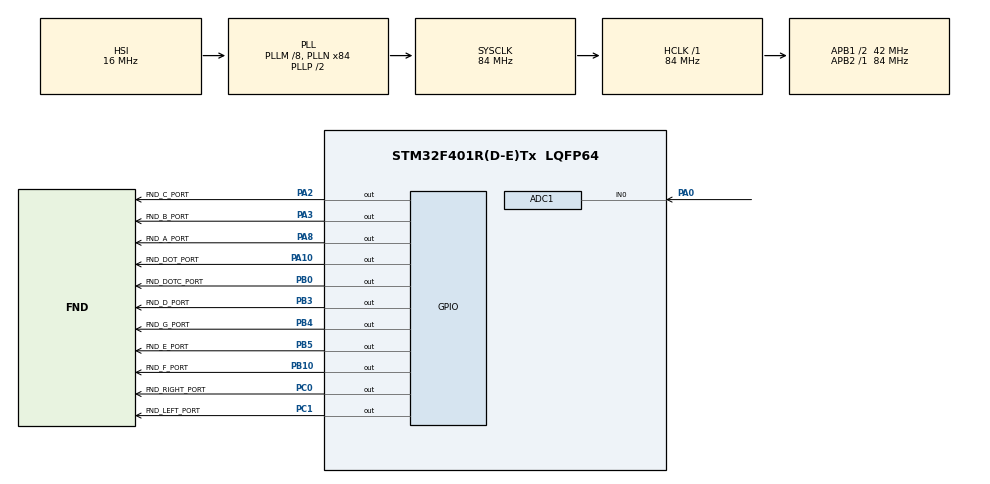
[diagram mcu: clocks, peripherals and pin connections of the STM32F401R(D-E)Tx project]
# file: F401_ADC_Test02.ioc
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ADC1.Channel-0\#ChannelRegularConversion=ADC_CHANNEL_0
ADC1.ContinuousConvMode=ENABLE
ADC1.NbrOfConversionFlag=1
ADC1.Rank-0\#ChannelRegularConversion=1
ADC1.SamplingTime-0\#ChannelRegularConversion=ADC_SAMPLETIME_3CYCLES
ADC1.master=1
Mcu.Family=STM32F4
Mcu.Name=STM32F401R(D-E)Tx
Mcu.Package=LQFP64
NVIC.ADC_IRQn=true\:0\:0\:false\:false\:true\:true\:true
NVIC.PriorityGroup=NVIC_PRIORITYGROUP_4
NVIC.TIM2_IRQn=true\:0\:0\:false\:false\:true\:true\:true
NVIC.TIM3_IRQn=true\:0\:0\:false\:false\:true\:true\:true
PA0-WKUP.Signal=ADCx_IN0
PA10.GPIO_Label=FND_DOT_PORT
PA10.PinState=GPIO_PIN_SET
PA10.Signal=GPIO_Output
PA13.Mode=Serial_Wire
PA13.Signal=SYS_JTMS-SWDIO
PA14.Mode=Serial_Wire
PA14.Signal=SYS_JTCK-SWCLK
PA2.GPIO_Label=FND_C_PORT
PA2.PinState=GPIO_PIN_SET
PA2.Signal=GPIO_Output
PA3.GPIO_Label=FND_B_PORT
PA3.PinState=GPIO_PIN_SET
PA3.Signal=GPIO_Output
PA8.GPIO_Label=FND_A_PORT
PA8.PinState=GPIO_PIN_SET
PA8.Signal=GPIO_Output
PB0.GPIO_Label=FND_DOTC_PORT
PB0.Signal=GPIO_Output
PB10.GPIO_Label=FND_F_PORT
PB10.PinState=GPIO_PIN_SET
PB10.Signal=GPIO_Output
PB3.GPIO_Label=FND_D_PORT
PB3.PinState=GPIO_PIN_SET
PB3.Signal=GPIO_Output
PB4.GPIO_Label=FND_G_PORT
PB4.PinState=GPIO_PIN_SET
PB4.Signal=GPIO_Output
PB5.GPIO_Label=FND_E_PORT
PB5.PinState=GPIO_PIN_SET
PB5.Signal=GPIO_Output
PC0.GPIO_Label=FND_RIGHT_PORT
PC0.Signal=GPIO_Output
PC1.GPIO_Label=FND_LEFT_PORT
PC1.Signal=GPIO_Output
ProjectManager.HeapSize=0x200
ProjectManager.StackSize=0x400
ProjectManager.TargetToolchain=STM32CubeIDE
RCC.48MHZClocksFreq_Value=42000000
RCC.AHBFreq_Value=84000000
RCC.APB1CLKDivider=RCC_HCLK_DIV2
RCC.APB1Freq_Value=42000000
RCC.APB1TimFreq_Value=84000000
RCC.APB2Freq_Value=84000000
RCC.APB2TimFreq_Value=84000000
RCC.CortexFreq_Value=84000000
RCC.HCLKFreq_Value=84000000
RCC.HSE_VALUE=25000000
RCC.HSI_VALUE=16000000
RCC.LSE_VALUE=32768
RCC.PLLM=8
RCC.PLLN=84
RCC.SYSCLKFreq_VALUE=84000000
RCC.SYSCLKSource=RCC_SYSCLKSOURCE_PLLCLK
RCC.VCOOutputFreq_Value=168000000
SH.ADCx_IN0.0=ADC1_IN0,IN0
TIM2.Period=100-1
TIM2.Prescaler=840-1
TIM3.Period=100-1
TIM3.Prescaler=8400-1
VP_TIM2_VS_ClockSourceINT.Mode=Internal
VP_TIM3_VS_ClockSourceINT.Mode=Internal
board=custom

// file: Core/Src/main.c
/* USER CODE BEGIN Header */
/**
  ******************************************************************************
  * @file           : main.c
  * @brief          : Main program body
  ******************************************************************************
  * @attention
  *
  * <h2><center>&copy; Copyright (c) 2021 STMicroelectronics.
  * All rights reserved.</center></h2>
  *
  * This software component is licensed by ST under BSD 3-Clause license,
  * the "License"; You may not use this file except in compliance with the
  * License. You may obtain a copy of the License at:
  *                        opensource.org/licenses/BSD-3-Clause
  *
  ******************************************************************************
  */
/* USER CODE END Header */
#include "main.h"

/* USER CODE BEGIN PTD */
#define FND_INITIALIZE 	0
#define FND_LEFT_ON		1
#define FND_RIGHT_ON	2
#define TIM3_IT_OCCURRED 	1
#define TIM3_IT_WAITING		0
#define ADC1_IT_OCCURRED 	1
#define ADC1_IT_WAITING		0
#define	FND_COM_LEFT_ON			HAL_GPIO_WritePin(GPIOC, FND_LEFT_PORT_Pin, GPIO_PIN_SET); \
								HAL_GPIO_WritePin(GPIOC, FND_RIGHT_PORT_Pin, GPIO_PIN_RESET); \
								HAL_GPIO_WritePin(FND_DOTC_PORT_GPIO_Port, FND_DOTC_PORT_Pin, GPIO_PIN_SET);\
								HAL_GPIO_WritePin(GPIOA, FND_DOT_PORT_Pin, GPIO_PIN_RESET);

#define	FND_COM_RIGHT_ON		HAL_GPIO_WritePin(GPIOC, FND_RIGHT_PORT_Pin, GPIO_PIN_SET); \
								HAL_GPIO_WritePin(GPIOC, FND_LEFT_PORT_Pin, GPIO_PIN_RESET);

#define FND_SEG_NUM0_DISP	  HAL_GPIO_WritePin(GPIOA, FND_C_PORT_Pin|FND_B_PORT_Pin|FND_A_PORT_Pin, GPIO_PIN_RESET); \
						      HAL_GPIO_WritePin(GPIOB, FND_F_PORT_Pin|FND_D_PORT_Pin|FND_E_PORT_Pin, GPIO_PIN_RESET); \
							  HAL_GPIO_WritePin(GPIOB, FND_G_PORT_Pin, GPIO_PIN_SET);

#define FND_SEG_NUM1_DISP	  HAL_GPIO_WritePin(GPIOA, FND_B_PORT_Pin|FND_C_PORT_Pin, GPIO_PIN_RESET); \
							  HAL_GPIO_WritePin(GPIOA, FND_A_PORT_Pin, GPIO_PIN_SET); \
							  HAL_GPIO_WritePin(GPIOB, FND_F_PORT_Pin|FND_D_PORT_Pin|FND_G_PORT_Pin|FND_E_PORT_Pin, GPIO_PIN_SET);

#define FND_SEG_NUM2_DISP	  HAL_GPIO_WritePin(GPIOA, FND_B_PORT_Pin|FND_A_PORT_Pin, GPIO_PIN_RESET); \
						      HAL_GPIO_WritePin(GPIOB, FND_D_PORT_Pin|FND_G_PORT_Pin|FND_E_PORT_Pin, GPIO_PIN_RESET); \
						      HAL_GPIO_WritePin(GPIOA, FND_C_PORT_Pin, GPIO_PIN_SET); \
						      HAL_GPIO_WritePin(GPIOB, FND_F_PORT_Pin, GPIO_PIN_SET);

#define FND_SEG_NUM3_DISP	  HAL_GPIO_WritePin(GPIOA, FND_C_PORT_Pin|FND_B_PORT_Pin|FND_A_PORT_Pin, GPIO_PIN_RESET); \
						      HAL_GPIO_WritePin(GPIOB, FND_D_PORT_Pin|FND_G_PORT_Pin, GPIO_PIN_RESET); \
						      HAL_GPIO_WritePin(GPIOB, FND_F_PORT_Pin|FND_E_PORT_Pin, GPIO_PIN_SET);

#define FND_SEG_NUM4_DISP	  HAL_GPIO_WritePin(GPIOA, FND_C_PORT_Pin|FND_B_PORT_Pin, GPIO_PIN_RESET); \
						      HAL_GPIO_WritePin(GPIOB, FND_F_PORT_Pin|FND_G_PORT_Pin, GPIO_PIN_RESET); \
						      HAL_GPIO_WritePin(GPIOA, FND_A_PORT_Pin, GPIO_PIN_SET); \
						      HAL_GPIO_WritePin(GPIOB, FND_E_PORT_Pin|FND_D_PORT_Pin, GPIO_PIN_SET);

#define FND_SEG_NUM5_DISP	  HAL_GPIO_WritePin(GPIOA, FND_C_PORT_Pin|FND_A_PORT_Pin, GPIO_PIN_RESET); \
						      HAL_GPIO_WritePin(GPIOB, FND_F_PORT_Pin|FND_D_PORT_Pin|FND_G_PORT_Pin, GPIO_PIN_RESET); \
						      HAL_GPIO_WritePin(GPIOB, FND_E_PORT_Pin, GPIO_PIN_SET); \
						      HAL_GPIO_WritePin(GPIOA, FND_B_PORT_Pin, GPIO_PIN_SET);

#define FND_SEG_NUM6_DISP	  HAL_GPIO_WritePin(GPIOA, FND_C_PORT_Pin|FND_A_PORT_Pin, GPIO_PIN_RESET); \
						      HAL_GPIO_WritePin(GPIOB, FND_F_PORT_Pin|FND_D_PORT_Pin|FND_G_PORT_Pin|FND_E_PORT_Pin, GPIO_PIN_RESET); \
						      HAL_GPIO_WritePin(GPIOA, FND_B_PORT_Pin, GPIO_PIN_SET);

#define FND_SEG_NUM7_DISP	  HAL_GPIO_WritePin(GPIOA, FND_C_PORT_Pin|FND_B_PORT_Pin|FND_A_PORT_Pin, GPIO_PIN_RESET); \
						      HAL_GPIO_WritePin(GPIOB, FND_F_PORT_Pin, GPIO_PIN_RESET); \
						      HAL_GPIO_WritePin(GPIOB, FND_D_PORT_Pin|FND_G_PORT_Pin|FND_E_PORT_Pin, GPIO_PIN_SET); \

#define FND_SEG_NUM8_DISP	  HAL_GPIO_WritePin(GPIOA, FND_C_PORT_Pin|FND_B_PORT_Pin|FND_A_PORT_Pin, GPIO_PIN_RESET); \
						      HAL_GPIO_WritePin(GPIOB, FND_F_PORT_Pin|FND_D_PORT_Pin|FND_G_PORT_Pin|FND_E_PORT_Pin, GPIO_PIN_RESET);

#define FND_SEG_NUM9_DISP	  HAL_GPIO_WritePin(GPIOA, FND_C_PORT_Pin|FND_B_PORT_Pin|FND_A_PORT_Pin, GPIO_PIN_RESET); \
						      HAL_GPIO_WritePin(GPIOB, FND_F_PORT_Pin|FND_G_PORT_Pin|FND_D_PORT_Pin, GPIO_PIN_RESET); \
						      HAL_GPIO_WritePin(GPIOB, FND_E_PORT_Pin, GPIO_PIN_SET);
/* USER CODE END PTD */

ADC_HandleTypeDef hadc1;

TIM_HandleTypeDef htim2;
TIM_HandleTypeDef htim3;

void SystemClock_Config(void);
static void MX_GPIO_Init(void);
static void MX_ADC1_Init(void);
static void MX_TIM3_Init(void);
static void MX_TIM2_Init(void);

/* USER CODE BEGIN 0 */
uint8_t g_TIM3_Status = 0;
uint32_t g_ADC_Value;
unsigned char g_ADC1_Status = 0;
unsigned char Button_Status = 0;
uint32_t Button_Count = 0;
uint8_t FND_10disp = 0;
uint8_t FND_1disp = 0;
uint8_t FND_Disp = 0;
uint8_t FND_Status = 0;

void NUM_SEG_DISPLAY(uint8_t Disp_Seg_Num)
	{
		switch(Disp_Seg_Num)
		{
		case 0:
			FND_SEG_NUM0_DISP
			break;
		case 1:
			FND_SEG_NUM1_DISP
			break;
		case 2:
			FND_SEG_NUM2_DISP
			break;
		case 3:
			FND_SEG_NUM3_DISP
			break;
		case 4:
			FND_SEG_NUM4_DISP
			break;
		case 5:
			FND_SEG_NUM5_DISP
			break;
		case 6:
			FND_SEG_NUM6_DISP
			break;
		case 7:
			FND_SEG_NUM7_DISP
			break;
		case 8:
			FND_SEG_NUM8_DISP
			break;
		case 9:
			FND_SEG_NUM9_DISP
			break;
		default:
			FND_SEG_NUM0_DISP
				break;
		}
	}

	void Calculate_ADC1(uint32_t ADC1_Value)
	{
		float FND_Value = 0;
		float V_REF = 3.3f;
		unsigned int ADC_Resolution = 4096;

		FND_Value = ((V_REF * ADC1_Value) / ADC_Resolution);

		FND_Disp = FND_Value * 10;

		FND_10disp = FND_Disp / 10;
		FND_1disp = FND_Disp % 10;
	}
/* USER CODE END 0 */

int main(void)
{

  /* MCU Configuration--------------------------------------------------------*/

  /* Reset of all peripherals, Initializes the Flash interface and the Systick. */
  HAL_Init();

  /* Configure the system clock */
  SystemClock_Config();

  /* Initialize all configured peripherals */
  MX_GPIO_Init();
  MX_ADC1_Init();
  MX_TIM3_Init();
  MX_TIM2_Init();
  /* USER CODE BEGIN 2 */
  HAL_ADC_Start_IT(&hadc1);
  HAL_TIM_Base_Start_IT(&htim3);
  HAL_TIM_Base_Start_IT(&htim2);
  /* USER CODE END 2 */

  /* Infinite loop */
  while (1)
  {

    /* USER CODE BEGIN 3 */

   /*--------- TIM and ADC INTERUPPT occurred ---------*/
	  if(g_TIM3_Status == TIM3_IT_OCCURRED)             	// if TIM occurred interuppt
	  {
		  g_TIM3_Status = TIM3_IT_WAITING;               	  // TIM is waiting interuppt

		  if(g_ADC1_Status == ADC1_IT_OCCURRED)             // if g_ADC1_Status is occurred interuppt
			  Calculate_ADC1(g_ADC_Value);                    // adc_value calc

			  HAL_ADC_Start_IT(&hadc1);                       // adc_interuppt enable

			  g_ADC1_Status = ADC1_IT_WAITING;                // g_ADC1_Status is waiting interuppt
		  }
	  }
  }
  /* USER CODE END 3 */
}

void SystemClock_Config(void)
{
  RCC_OscInitTypeDef RCC_OscInitStruct = {0};
  RCC_ClkInitTypeDef RCC_ClkInitStruct = {0};

  /** Configure the main internal regulator output voltage
  */
  __HAL_RCC_PWR_CLK_ENABLE();
  __HAL_PWR_VOLTAGESCALING_CONFIG(PWR_REGULATOR_VOLTAGE_SCALE2);
  /** Initializes the RCC Oscillators according to the specified parameters
  * in the RCC_OscInitTypeDef structure.
  */
  RCC_OscInitStruct.OscillatorType = RCC_OSCILLATORTYPE_HSI;
  RCC_OscInitStruct.HSIState = RCC_HSI_ON;
  RCC_OscInitStruct.HSICalibrationValue = RCC_HSICALIBRATION_DEFAULT;
  RCC_OscInitStruct.PLL.PLLState = RCC_PLL_ON;
  RCC_OscInitStruct.PLL.PLLSource = RCC_PLLSOURCE_HSI;
  RCC_OscInitStruct.PLL.PLLM = 8;
  RCC_OscInitStruct.PLL.PLLN = 84;
  RCC_OscInitStruct.PLL.PLLP = RCC_PLLP_DIV2;
  RCC_OscInitStruct.PLL.PLLQ = 4;
  if (HAL_RCC_OscConfig(&RCC_OscInitStruct) != HAL_OK)
  {
    Error_Handler();
  }
  /** Initializes the CPU, AHB and APB buses clocks
  */
  RCC_ClkInitStruct.ClockType = RCC_CLOCKTYPE_HCLK|RCC_CLOCKTYPE_SYSCLK
                              |RCC_CLOCKTYPE_PCLK1|RCC_CLOCKTYPE_PCLK2;
  RCC_ClkInitStruct.SYSCLKSource = RCC_SYSCLKSOURCE_PLLCLK;
  RCC_ClkInitStruct.AHBCLKDivider = RCC_SYSCLK_DIV1;
  RCC_ClkInitStruct.APB1CLKDivider = RCC_HCLK_DIV2;
  RCC_ClkInitStruct.APB2CLKDivider = RCC_HCLK_DIV1;

  if (HAL_RCC_ClockConfig(&RCC_ClkInitStruct, FLASH_LATENCY_2) != HAL_OK)
  {
    Error_Handler();
  }
}

static void MX_ADC1_Init(void)
{

  ADC_ChannelConfTypeDef sConfig = {0};

  /** Configure the global features of the ADC (Clock, Resolution, Data Alignment and number of conversion)
  */
  hadc1.Instance = ADC1;
  hadc1.Init.ClockPrescaler = ADC_CLOCK_SYNC_PCLK_DIV4;
  hadc1.Init.Resolution = ADC_RESOLUTION_12B;
  hadc1.Init.ScanConvMode = DISABLE;
  hadc1.Init.ContinuousConvMode = ENABLE;
  hadc1.Init.DiscontinuousConvMode = DISABLE;
  hadc1.Init.ExternalTrigConvEdge = ADC_EXTERNALTRIGCONVEDGE_NONE;
  hadc1.Init.ExternalTrigConv = ADC_SOFTWARE_START;
  hadc1.Init.DataAlign = ADC_DATAALIGN_RIGHT;
  hadc1.Init.NbrOfConversion = 1;
  hadc1.Init.DMAContinuousRequests = DISABLE;
  hadc1.Init.EOCSelection = ADC_EOC_SINGLE_CONV;
  if (HAL_ADC_Init(&hadc1) != HAL_OK)
  {
    Error_Handler();
  }
  /** Configure for the selected ADC regular channel its corresponding rank in the sequencer and its sample time.
  */
  sConfig.Channel = ADC_CHANNEL_0;
  sConfig.Rank = 1;
  sConfig.SamplingTime = ADC_SAMPLETIME_3CYCLES;
  if (HAL_ADC_ConfigChannel(&hadc1, &sConfig) != HAL_OK)
  {
    Error_Handler();
  }

}

static void MX_TIM2_Init(void)
{

  TIM_ClockConfigTypeDef sClockSourceConfig = {0};
  TIM_MasterConfigTypeDef sMasterConfig = {0};

  htim2.Instance = TIM2;
  htim2.Init.Prescaler = 840-1;
  htim2.Init.CounterMode = TIM_COUNTERMODE_UP;
  htim2.Init.Period = 100-1;
  htim2.Init.ClockDivision = TIM_CLOCKDIVISION_DIV1;
  htim2.Init.AutoReloadPreload = TIM_AUTORELOAD_PRELOAD_DISABLE;
  if (HAL_TIM_Base_Init(&htim2) != HAL_OK)
  {
    Error_Handler();
  }
  sClockSourceConfig.ClockSource = TIM_CLOCKSOURCE_INTERNAL;
  if (HAL_TIM_ConfigClockSource(&htim2, &sClockSourceConfig) != HAL_OK)
  {
    Error_Handler();
  }
  sMasterConfig.MasterOutputTrigger = TIM_TRGO_RESET;
  sMasterConfig.MasterSlaveMode = TIM_MASTERSLAVEMODE_DISABLE;
  if (HAL_TIMEx_MasterConfigSynchronization(&htim2, &sMasterConfig) != HAL_OK)
  {
    Error_Handler();
  }

}

static void MX_TIM3_Init(void)
{

  TIM_ClockConfigTypeDef sClockSourceConfig = {0};
  TIM_MasterConfigTypeDef sMasterConfig = {0};

  htim3.Instance = TIM3;
  htim3.Init.Prescaler = 8400-1;
  htim3.Init.CounterMode = TIM_COUNTERMODE_UP;
  htim3.Init.Period = 100-1;
  htim3.Init.ClockDivision = TIM_CLOCKDIVISION_DIV1;
  htim3.Init.AutoReloadPreload = TIM_AUTORELOAD_PRELOAD_DISABLE;
  if (HAL_TIM_Base_Init(&htim3) != HAL_OK)
  {
    Error_Handler();
  }
  sClockSourceConfig.ClockSource = TIM_CLOCKSOURCE_INTERNAL;
  if (HAL_TIM_ConfigClockSource(&htim3, &sClockSourceConfig) != HAL_OK)
  {
    Error_Handler();
  }
  sMasterConfig.MasterOutputTrigger = TIM_TRGO_RESET;
  sMasterConfig.MasterSlaveMode = TIM_MASTERSLAVEMODE_DISABLE;
  if (HAL_TIMEx_MasterConfigSynchronization(&htim3, &sMasterConfig) != HAL_OK)
  {
    Error_Handler();
  }

}

static void MX_GPIO_Init(void)
{
  GPIO_InitTypeDef GPIO_InitStruct = {0};

  /* GPIO Ports Clock Enable */
  __HAL_RCC_GPIOC_CLK_ENABLE();
  __HAL_RCC_GPIOA_CLK_ENABLE();
  __HAL_RCC_GPIOB_CLK_ENABLE();

  /*Configure GPIO pin Output Level */
  HAL_GPIO_WritePin(GPIOC, FND_RIGHT_PORT_Pin|FND_LEFT_PORT_Pin, GPIO_PIN_RESET);

  /*Configure GPIO pin Output Level */
  HAL_GPIO_WritePin(GPIOA, FND_C_PORT_Pin|FND_B_PORT_Pin|FND_A_PORT_Pin|FND_DOT_PORT_Pin, GPIO_PIN_SET);

  /*Configure GPIO pin Output Level */
  HAL_GPIO_WritePin(FND_DOTC_PORT_GPIO_Port, FND_DOTC_PORT_Pin, GPIO_PIN_RESET);

  /*Configure GPIO pin Output Level */
  HAL_GPIO_WritePin(GPIOB, FND_F_PORT_Pin|FND_D_PORT_Pin|FND_G_PORT_Pin|FND_E_PORT_Pin, GPIO_PIN_SET);

  /*Configure GPIO pins : FND_RIGHT_PORT_Pin FND_LEFT_PORT_Pin */
  GPIO_InitStruct.Pin = FND_RIGHT_PORT_Pin|FND_LEFT_PORT_Pin;
  GPIO_InitStruct.Mode = GPIO_MODE_OUTPUT_PP;
  GPIO_InitStruct.Pull = GPIO_NOPULL;
  GPIO_InitStruct.Speed = GPIO_SPEED_FREQ_LOW;
  HAL_GPIO_Init(GPIOC, &GPIO_InitStruct);

  /*Configure GPIO pins : FND_C_PORT_Pin FND_B_PORT_Pin FND_A_PORT_Pin FND_DOT_PORT_Pin */
  GPIO_InitStruct.Pin = FND_C_PORT_Pin|FND_B_PORT_Pin|FND_A_PORT_Pin|FND_DOT_PORT_Pin;
  GPIO_InitStruct.Mode = GPIO_MODE_OUTPUT_PP;
  GPIO_InitStruct.Pull = GPIO_NOPULL;
  GPIO_InitStruct.Speed = GPIO_SPEED_FREQ_LOW;
  HAL_GPIO_Init(GPIOA, &GPIO_InitStruct);

  /*Configure GPIO pins : FND_DOTC_PORT_Pin FND_F_PORT_Pin FND_D_PORT_Pin FND_G_PORT_Pin
                           FND_E_PORT_Pin */
  GPIO_InitStruct.Pin = FND_DOTC_PORT_Pin|FND_F_PORT_Pin|FND_D_PORT_Pin|FND_G_PORT_Pin
                          |FND_E_PORT_Pin;
  GPIO_InitStruct.Mode = GPIO_MODE_OUTPUT_PP;
  GPIO_InitStruct.Pull = GPIO_NOPULL;
  GPIO_InitStruct.Speed = GPIO_SPEED_FREQ_LOW;
  HAL_GPIO_Init(GPIOB, &GPIO_InitStruct);

}

/* USER CODE BEGIN 4 */
void HAL_ADC_ConvCpltCallback(ADC_HandleTypeDef* hadc)
{
  g_ADC1_Status = 1;

	g_ADC_Value = HAL_ADC_GetValue(&hadc1);
}

void HAL_TIM_PeriodElapsedCallback(TIM_HandleTypeDef *htim)
{
	if(htim == &htim3)
	{
		g_TIM3_Status = TIM3_IT_OCCURRED;
	}

	else if(htim == &htim2)
	{
		if(FND_Status == FND_INITIALIZE)
		{
			FND_Status = FND_LEFT_ON;
			FND_COM_LEFT_ON
			NUM_SEG_DISPLAY(FND_10disp);
		}

		else if(FND_Status == FND_LEFT_ON)
		{
			FND_Status = FND_RIGHT_ON;
			FND_COM_RIGHT_ON
			NUM_SEG_DISPLAY(FND_1disp);
		}

		else
			FND_Status = FND_INITIALIZE;
	}
}
/* USER CODE END 4 */

void Error_Handler(void)
{
  __disable_irq();
  while (1)
  {
  }
}

/************************ (C) COPYRIGHT STMicroelectronics *****END OF FILE****/
